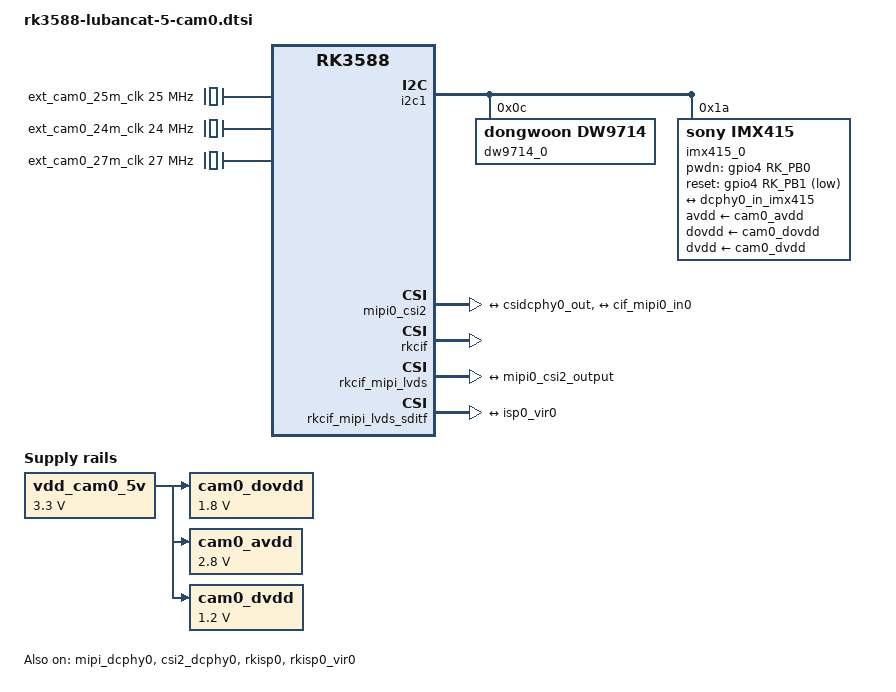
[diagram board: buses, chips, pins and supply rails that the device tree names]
// SPDX-License-Identifier: (GPL-2.0+ OR MIT)
/*
 * Copyright (c) 2020 Rockchip Electronics Co., Ltd.
 *
 */

/ {
	ext_cam0_25m_clk: external-camera-25m-clock {
		compatible = "fixed-clock";
		clock-frequency = <25000000>;
		clock-output-names = "ext_cam_25m_clk";
		#clock-cells = <0>;
	};

	ext_cam0_24m_clk: external-camera-24m-clock {
		compatible = "fixed-clock";
		#clock-cells = <0>;
		clock-frequency = <24000000>;
		clock-output-names = "ext_cam_24m_clk";
	};

	ext_cam0_27m_clk: external-camera-27m-clock {
		compatible = "fixed-clock";
		#clock-cells = <0>;
		clock-frequency = <27000000>;
		clock-output-names = "ext_cam_27m_clk";
	};

	vdd_cam0_5v: vdd-cam0-5v-regulator {
		compatible = "regulator-fixed";
		regulator-name = "vdd_cam_5v";
		regulator-always-on;
		regulator-boot-on;
		regulator-min-microvolt = <3300000>;
		regulator-max-microvolt = <3300000>;
	};

	cam0_dovdd: cam0-dovdd {
		compatible = "regulator-fixed";
		regulator-name = "cam_dovdd";
		regulator-always-on;
		regulator-boot-on;
		regulator-min-microvolt = <1800000>;
		regulator-max-microvolt = <1800000>;
		vin-supply = <&vdd_cam0_5v>;
	};

	cam0_avdd: cam0-avdd {
		compatible = "regulator-fixed";
		regulator-name = "cam_avdd";
		regulator-always-on;
		regulator-boot-on;
		regulator-min-microvolt = <2800000>;
		regulator-max-microvolt = <2800000>;
		vin-supply = <&vdd_cam0_5v>;
	};

	cam0_dvdd: cam0-dvdd {
		compatible = "regulator-fixed";
		regulator-name = "cam_dvdd";
		regulator-always-on;
		regulator-boot-on;
		regulator-min-microvolt = <1200000>;
		regulator-max-microvolt = <1200000>;
		vin-supply = <&vdd_cam0_5v>;
	};
};

/* Link path: sensor->csi2_dcphy0->mipi0_csi2->rkcif_mipi_lvds--->rkcif_mipi_lvds_sditf->rkisp0_vir0 */
&i2c1 {
	status = "okay";
	pinctrl-names = "default";
	pinctrl-0 = <&i2c1m2_xfer>;

	dw9714_0: dw9714-0@c {
		status = "okay";
		compatible = "dongwoon,dw9714";
		reg = <0xc>;
		rockchip,camera-module-index = <0>;
		rockchip,vcm-max-current = <100>;
		rockchip,vcm-start-current = <0>;
		rockchip,vcm-rated-current = <100>;
		rockchip,vcm-step-mode = <0xd>;
		rockchip,vcm-dlc-enable = <0>;
		rockchip,vcm-mclk = <0>;	
		rockchip,vcm-t-src = <0>;
		rockchip,camera-module-facing = "back";
	};

	ov5647_0: ov5647-0@36 {
		compatible = "ovti,ov5647";
		status = "disabled";
		reg = <0x36>;
		clocks = <&ext_cam0_25m_clk>;
		clock-names = "ext_cam_25m_clk";
		pwdn-gpios = <&gpio4 RK_PB0 GPIO_ACTIVE_LOW>;
		lens-focus = <&dw9714_0>;

		port {
			ov5647_out0: endpoint {
				remote-endpoint = <&dcphy0_in_ov5647>;
				data-lanes = <1 2>;
			};
		};
	};

	ov5648_0: ov5648-0@36 {
		compatible = "ovti,ov5648";
		status = "disabled";
		reg = <0x36>;
		clocks = <&ext_cam0_24m_clk>;
		clock-names = "xvclk";
		dovdd-supply= <&cam0_dovdd>; /* 1.8v */
		avdd-supply = <&cam0_avdd>;  /* 2.8v */
		dvdd-supply = <&cam0_dvdd>;  /* 1.2v */
		pwdn-gpios = <&gpio4 RK_PB0 GPIO_ACTIVE_HIGH>;
		reset-gpios = <&gpio4 RK_PB1 GPIO_ACTIVE_LOW>;
		rotation = <180>;

		rockchip,camera-module-index = <0>;
		rockchip,camera-module-facing = "back";
		rockchip,camera-module-name = "THDS11073";
		rockchip,camera-module-lens-name = "Largan-40122a1";
		lens-focus = <&dw9714_0>;

		port {
			/* MIPI CSI-2 bus endpoint */
			ov5648_out0: endpoint {
				remote-endpoint = <&dcphy0_in_ov5648>;
				clock-lanes = <0>;
				data-lanes = <1 2>;
			};
		};
	};

	ov8858_0: ov8858-0@36 {
		compatible = "ovti,ov8858";
		status = "disabled";
		reg = <0x36>;
		clocks = <&ext_cam0_24m_clk>;
		clock-names = "xvclk";
		dovdd-supply= <&cam0_dovdd>; /* 1.8v */
		avdd-supply = <&cam0_avdd>;  /* 2.8v */
		dvdd-supply = <&cam0_dvdd>;  /* 1.2v */
		pwdn-gpios = <&gpio4 RK_PB0 GPIO_ACTIVE_HIGH>;
		reset-gpios = <&gpio4 RK_PB1 GPIO_ACTIVE_HIGH>;
		rotation = <180>;

		rockchip,camera-module-index = <0>;
		rockchip,camera-module-facing = "back";
		rockchip,camera-module-name = "HS5885-BNSM1018-V01";
		rockchip,camera-module-lens-name = "default";
		lens-focus = <&dw9714_0>;

		port {
			/* MIPI CSI-2 bus endpoint */
			ov8858_out0: endpoint {
				remote-endpoint = <&dcphy0_in_ov8858>;
				clock-lanes = <0>;
				data-lanes = <1 2>;
			};
		};
	};

   ov13850_0: ov13850-0@10 {
		compatible = "ovti,ov13850";
		status = "disabled";
		reg = <0x10>;
		clocks = <&ext_cam0_24m_clk>;
		clock-names = "xvclk";
		dovdd-supply= <&cam0_dovdd>; /* 1.8v */
		avdd-supply = <&cam0_avdd>;  /* 2.8v */
		dvdd-supply = <&cam0_dvdd>;  /* 1.2v */
		pwdn-gpios = <&gpio4 RK_PB0 GPIO_ACTIVE_HIGH>;
		reset-gpios = <&gpio4 RK_PB1 GPIO_ACTIVE_HIGH>;
		rotation = <180>;

		rockchip,camera-module-index = <2>;
		rockchip,camera-module-facing = "back";
		rockchip,camera-module-name = "ZC-OV13850R2A-V1";
		rockchip,camera-module-lens-name = "Largan-50064B31";
		lens-focus = <&dw9714_0>;

		port {
			/* MIPI CSI-2 bus endpoint */
			ov13850_out0: endpoint {
				remote-endpoint = <&dcphy0_in_ov13850>;
				clock-lanes = <0>;
				data-lanes = <1 2>;
			};
		};
    };

	imx415_0: imx415-0@1a {
		compatible = "sony,imx415";
		status = "okay";
		reg = <0x1a>;
		clocks = <&ext_cam0_24m_clk>;
		clock-names = "xvclk";
		power-domains = <&power RK3588_PD_VI>;
		avdd-supply = <&cam0_avdd>;
		dovdd-supply = <&cam0_dovdd>;
		dvdd-supply = <&cam0_dvdd>;
		pwdn-gpios = <&gpio4 RK_PB0 GPIO_ACTIVE_HIGH>;
		reset-gpios = <&gpio4 RK_PB1 GPIO_ACTIVE_LOW>;

		rockchip,camera-module-index = <0>;
		rockchip,camera-module-facing = "back";
		rockchip,camera-module-name = "CMK-OT2022-PX1";
		rockchip,camera-module-lens-name = "IR0147-50IRC-8M-F20";
		// NO_HDR:0 HDR_X2:5 HDR_X3:6
		// rockchip,camera-hdr-mode = <0>;
		port {
			imx415_out0: endpoint {
				remote-endpoint = <&dcphy0_in_imx415>;
				data-lanes = <1 2 3 4>;
			};
		};
	};
};

&mipi_dcphy0 {
	status = "okay";
};

&csi2_dcphy0 {
	status = "okay";
	
	ports {
		#address-cells = <1>;
		#size-cells = <0>;

		port@0 {
			reg = <0>;
			#address-cells = <1>;
			#size-cells = <0>;

			dcphy0_in_ov5648: endpoint@1 {
				reg = <1>;
				remote-endpoint = <&ov5648_out0>;
				data-lanes = <1 2>;
			};

			dcphy0_in_ov8858: endpoint@2 {
				reg = <2>;
				remote-endpoint = <&ov8858_out0>;
				data-lanes = <1 2>;
			};

			dcphy0_in_ov13850: endpoint@3 {
				reg = <3>;
				remote-endpoint = <&ov13850_out0>;
				data-lanes = <1 2>;
			};

			dcphy0_in_ov5647: endpoint@4 {
				reg = <4>;
				remote-endpoint = <&ov5647_out0>;
				data-lanes = <1 2>;
			};

			dcphy0_in_imx415: endpoint@5 {
				reg = <5>;
				remote-endpoint = <&imx415_out0>;
				data-lanes = <1 2 3 4>;
			};
		};

		port@1 {
			reg = <1>;
			#address-cells = <1>;
			#size-cells = <0>;

			csidcphy0_out: endpoint@0 {
				reg = <0>;
				remote-endpoint = <&mipi0_csi2_input>;
			};
		};
	};
};

&mipi0_csi2 {
	status = "okay";

	ports {
		#address-cells = <1>;
		#size-cells = <0>;

		port@0 {
			reg = <0>;
			#address-cells = <1>;
			#size-cells = <0>;

			mipi0_csi2_input: endpoint@1 {
				reg = <1>;
				remote-endpoint = <&csidcphy0_out>;
			};
		};

		port@1 {
			reg = <1>;
			#address-cells = <1>;
			#size-cells = <0>;

			mipi0_csi2_output: endpoint@0 {
				reg = <0>;
				remote-endpoint = <&cif_mipi0_in0>;
			};
		};
	};
};

&rkcif {
	status = "okay";
};

&rkcif_mipi_lvds {
	status = "okay";

	port {
		cif_mipi0_in0: endpoint {
			remote-endpoint = <&mipi0_csi2_output>;
		};
	};
};

&rkcif_mipi_lvds_sditf {
	status = "okay";

	port {
		mipi_lvds_sditf: endpoint {
			remote-endpoint = <&isp0_vir0>;
		};
	};
};

&rkcif_mmu {
	status = "okay";
};

&rkisp0 {
	status = "okay";
};

&isp0_mmu {
	status = "okay";
};

&rkisp0_vir0 {
	status = "okay";

	port {
		#address-cells = <1>;
		#size-cells = <0>;

		isp0_vir0: endpoint@0 {
			reg = <0>;
			remote-endpoint = <&mipi_lvds_sditf>;
		};
	};
};

